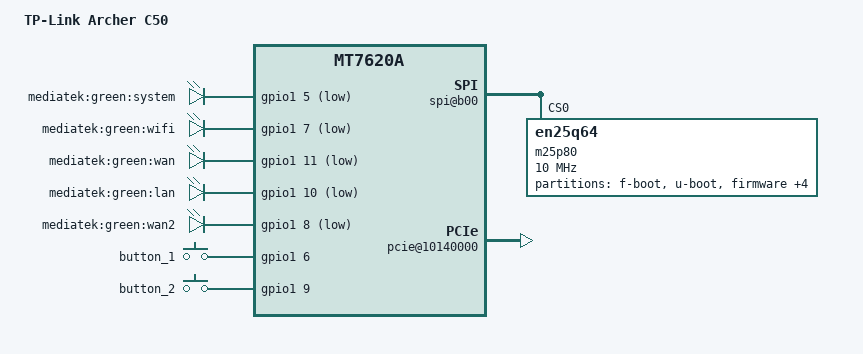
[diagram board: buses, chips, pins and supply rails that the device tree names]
/dts-v1/;

#include "mt7628an.dtsi"
#include <dt-bindings/input/input.h>

/ {
	compatible = "ralink,mt7620a-soc";
	model = "TP-Link Archer C50";

	aliases {
		label-mac-device = &ethernet;
	};

	chosen {
		bootargs = "console=ttyS0,115200";
	};

	palmbus@10000000 {
		gpio2: gpio@660 {
			status = "okay";
		};

		gpio3: gpio@688 {
			status = "okay";
		};

		spi@b00 {
			status = "okay";

			m25p80@0 {
				#address-cells = <1>;
				#size-cells = <1>;
				compatible = "en25q64";
				reg = <0 0>;
				linux,modalias = "w25q64", "w25q128", "w25q256";
				spi-max-frequency = <10000000>;

				partition@0 {
					label = "f-boot";
					reg = <0x0 0x30000>;
					read-only;
				};

				partition@30000 {
					label = "u-boot";
					reg = <0x30000 0x20000>;
					read-only;
				};

				partition@50000 {
					label = "firmware";
					reg = <0x50000 0xf70000>;
				};

				partition@7c0000 {
					label = "config";
					reg = <0xfc0000 0x10000>;
				};

				rom: partition@7d0000 {
					label = "rom";
					reg = <0xfd0000 0x10000>;
				};

				partition@7e0000 {
					label = "romfile";
					reg = <0xfe0000 0x10000>;
				};

				radio: partition@7f0000 {
					label = "radio";
					reg = <0xff0000 0x10000>;
				};
			};
		};
	};

//	memory@0 {
//		device_type = "memory";
//		reg = <0x0 0x10000000>; //256MB RAM
//		reg = <0x0 0x8000000>; //128MB RAM
//		reg = <0x0 0x4000000>; //64MB RAM
//	};

	pinctrl {
		state_default: pinctrl0 {
			gpio {
				ralink,group = "i2c", "uartf", "rgmii1", "rgmii2", "wled", "nd_sd";
				ralink,function = "gpio";
			};
		};
	};

	ethernet@10100000 {
		pinctrl-names = "default";
		pinctrl-0 = <&ephy_pins>;

		mtd-mac-address = <&rom 0xf100>;
		ralink,port-map = "wllll";
	};

	gsw@10110000 {
		ralink,port4 = "ephy";
	};

	wmac@10180000 {
		ralink,mtd-eeprom = <&radio 0>;
	};

	pcie@10140000 {
		status = "okay";

		pcie-bridge {
			mt76@0,0 {
				reg = <0x0000 0 0 0 0>;
				device_type = "pci";
				mediatek,mtd-eeprom = <&radio 32768>;
				mediatek,2ghz = <0>;
			};
		};
	};


	gpio-leds {
		compatible = "gpio-leds";

		system {
	                label = "mediatek:green:system";
			gpios = <&gpio1 5 1>;
	                default-state = "off";
	        };
		
                wifi {
                        label = "mediatek:green:wifi";
                        gpios = <&gpio1 7 1>;
                        default-state = "off";
                };

                wan {
                        label = "mediatek:green:wan";
                        gpios = <&gpio1 11 1>;
                        default-state = "off";
                };

		
                lan1 {
                        label = "mediatek:green:lan";
                        gpios = <&gpio1 10 1>;
                        default-state = "off";
                };

                lan2 {
                        label = "mediatek:green:wan2";
                        gpios = <&gpio1 8 1>;
                        default-state = "off";
                };

        };

        gpio-keys-polled {
                compatible = "gpio-keys-polled";
                #address-cells = <1>;
                #size-cells = <0>;
                poll-interval = <20>;

                button_1 {
                        label = "button_1";
                        gpios = <&gpio1 6 0>;
                        linux,code = <0x101>;
                };

                button_2 {
                        label = "button_2";
                        gpios = <&gpio1 9 0>;
                        linux,code = <0x102>;
                };
        };

};
